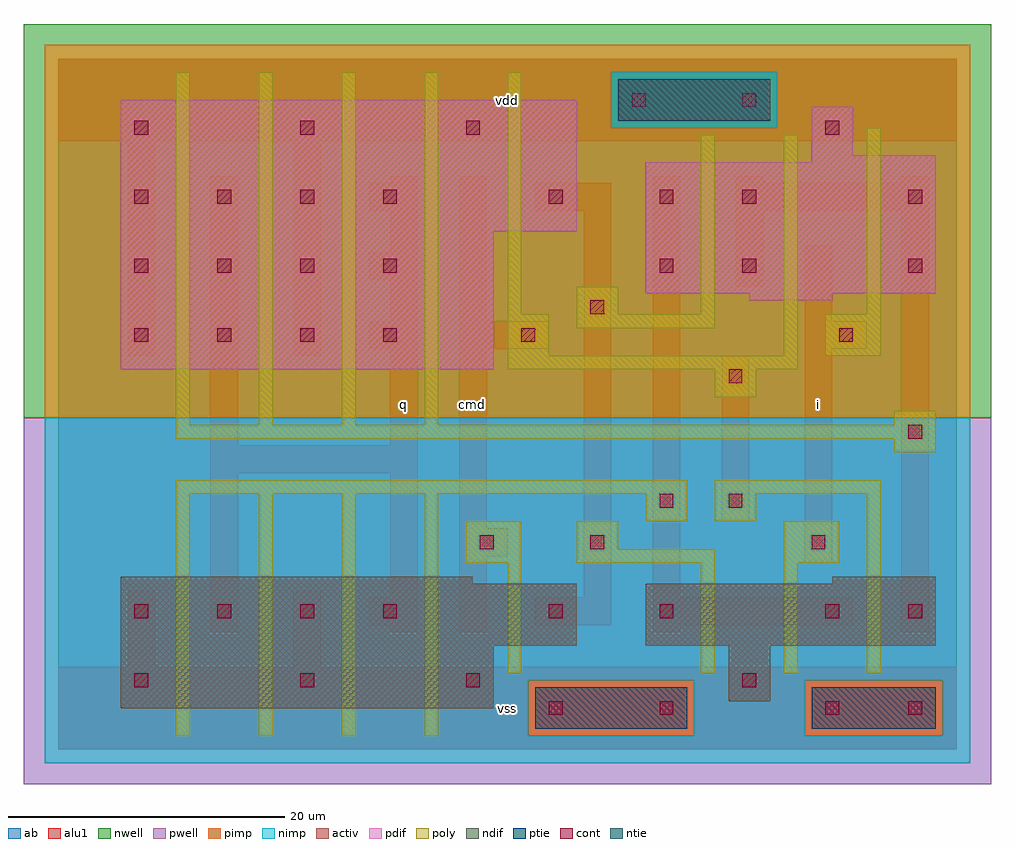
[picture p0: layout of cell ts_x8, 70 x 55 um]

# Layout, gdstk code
import gdstk
lib = gdstk.Library(unit=1e-6, precision=1e-09)
def R(c, l, rs):  # rectangles x0, y0, x1, y1
    for r in rs: c.add(gdstk.rectangle(r[:2], r[2:], *l))
def A(c, l, x, y, w, h, nx, ny, dx, dy):  # array of equal rectangles
    R(c, l, [(x+i*dx, y+j*dy, x+i*dx+w, y+j*dy+h) for i in range(nx) for j in range(ny)])
ndif = (3, 0)
pdif = (4, 0)
ntie = (5, 0)
ptie = (6, 0)
cont = (25, 0)
pwell = (41, 0)
nwell = (42, 0)
activ = (43, 0)
pimp = (44, 0)
nimp = (45, 0)
poly = (46, 0)
alu1 = (49, 0)
ab = (63, 0)

ts_x8 = lib.new_cell('ts_x8')
R(ts_x8, ndif, [(4.5,3,31.5,7.5), (48.5,3.5,51.5,7.5), (4.5,7.5,37.5,12), (42.5,7.5,63.5,12), (4.5,12,30,12.5), (56,12,63.5,12.5)])
R(ts_x8, pdif, [(4.5,27.5,31.5,37.5), (50,32.5,56,33), (42.5,33,63.5,42.5), (4.5,37.5,37.5,47), (54.5,42.5,63.5,43), (54.5,43,57.5,46.5)])
R(ts_x8, ntie, [(40.5,45.5,51.5,48.5)])
R(ts_x8, ptie, [(34.5,1.5,45.5,4.5), (54.5,1.5,63.5,4.5)])
A(ts_x8, cont, 5.5, 4.5, 1, 1, 3, 2, 12, 40)
A(ts_x8, cont, 5.5, 9.5, 1, 1, 4, 2, 6, 20)
A(ts_x8, cont, 5.5, 34.5, 1, 1, 4, 2, 6, 5)
R(ts_x8, cont, [(35.5,2.5,36.5,3.5), (43.5,2.5,44.5,3.5), (55.5,2.5,56.5,3.5), (61.5,2.5,62.5,3.5), (49.5,4.5,50.5,5.5), (35.5,9.5,36.5,10.5), (43.5,9.5,44.5,10.5), (55.5,9.5,56.5,10.5), (61.5,9.5,62.5,10.5), (30.5,14.5,31.5,15.5), (38.5,14.5,39.5,15.5), (54.5,14.5,55.5,15.5), (43.5,17.5,44.5,18.5), (48.5,17.5,49.5,18.5), (61.5,22.5,62.5,23.5), (48.5,26.5,49.5,27.5), (33.5,29.5,34.5,30.5), (56.5,29.5,57.5,30.5), (38.5,31.5,39.5,32.5), (43.5,34.5,44.5,35.5), (49.5,34.5,50.5,35.5), (61.5,34.5,62.5,35.5), (35.5,39.5,36.5,40.5), (43.5,39.5,44.5,40.5), (49.5,39.5,50.5,40.5), (61.5,39.5,62.5,40.5), (55.5,44.5,56.5,45.5), (41.5,46.5,42.5,47.5), (49.5,46.5,50.5,47.5)])
R(ts_x8, pwell, [(-2.5,-2.5,67.5,24)])
R(ts_x8, nwell, [(-2.5,24,67.5,52.5)])
R(ts_x8, activ, [(34.5,1.5,45.5,4.5), (54.5,1.5,63.5,4.5), (4.5,3,31.5,7.5), (48.5,3.5,51.5,7.5), (4.5,7.5,37.5,12), (42.5,7.5,63.5,12), (4.5,12,30,12.5), (56,12,63.5,12.5), (4.5,27.5,31.5,37.5), (50,32.5,56,33), (42.5,33,63.5,42.5), (4.5,37.5,37.5,47), (54.5,42.5,63.5,43), (54.5,43,57.5,46.5), (40.5,45.5,51.5,48.5)])
R(ts_x8, pimp, [(34,1,46,5), (54,1,64,5), (-1,24,66,45), (-1,45,40,49), (52,45,66,49), (-1,49,66,51)])
R(ts_x8, nimp, [(-1,-1,66,1), (-1,1,34,5), (46,1,54,5), (64,1,66,5), (-1,5,66,24), (40,45,52,49)])
A(ts_x8, poly, 8.5, 1, 1, 17.5, 4, 1, 6, 0)
A(ts_x8, poly, 8.5, 23.5, 1, 25.5, 4, 1, 6, 0)
R(ts_x8, poly, [(32.5,5.5,33.5,13.5), (46.5,5.5,47.5,13.5), (52.5,5.5,53.5,13.5), (58.5,5.5,59.5,18.5), (29.5,13.5,33.5,16.5), (37.5,13.5,47.5,14.5), (52.5,13.5,56.5,16.5), (37.5,14.5,40.5,16.5), (42.5,16.5,45.5,18.5), (47.5,16.5,50.5,18.5), (8.5,18.5,45.5,19.5), (47.5,18.5,59.5,19.5), (60.5,21.5,63.5,22.5), (8.5,22.5,63.5,23.5), (60.5,23.5,63.5,24.5), (47.5,25.5,50.5,27.5), (32.5,27.5,53.5,28.5), (32.5,28.5,35.5,31.5), (52.5,28.5,53.5,44.5), (55.5,28.5,59.5,31.5), (37.5,30.5,47.5,31.5), (32.5,31.5,33.5,49), (37.5,31.5,40.5,33.5), (46.5,31.5,47.5,44.5), (58.5,31.5,59.5,45)])
R(ts_x8, alu1, [(0,0,65,6), (0,0,65,6), (5,6,7,11.5), (5,6,7,11.5), (17,6,19,11.5), (17,6,19,11.5), (11,8.5,13,20), (11,8.5,13,20), (24,8.5,26,9), (24,8.5,26,9), (29,8.5,31,14), (29,8.5,31,14), (43,8.5,45,9), (43,8.5,45,9), (61,8.5,63,39), (61,8.5,63,39), (22.5,9,26,11), (22.5,9,26,11), (34.5,9,40,11), (34.5,9,40,11), (43,9,57.5,11), (43,9,57.5,11), (24,11,26,20), (24,11,26,20), (38,11,40,39), (38,11,40,39), (43,11,45,41.5), (43,11,45,41.5), (54,13.5,56,29), (54,13.5,56,29), (29,14,32.5,16), (29,14,32.5,16), (29,16,31,29), (29,16,31,29), (48,16.5,50,28.5), (48,16.5,50,28.5), (11,20,26,22), (11,20,26,22), (11,22,13,41.5), (11,22,13,41.5), (24,22,26,29), (24,22,26,29), (5,28.5,7,44), (5,28.5,7,44), (17,28.5,19,44), (17,28.5,19,44), (22.5,29,26,31), (22.5,29,26,31), (29,29,35.5,31), (29,29,35.5,31), (54,29,58.5,31), (54,29,58.5,31), (24,31,26,34), (24,31,26,34), (29,31,31,41.5), (29,31,31,41.5), (54,31,56,36.5), (54,31,56,36.5), (49,33.5,51,39), (49,33.5,51,39), (22.5,34,26,36), (22.5,34,26,36), (24,36,26,39), (24,36,26,39), (22.5,39,26,41), (22.5,39,26,41), (34.5,39,40,41), (34.5,39,40,41), (49,39,63,41), (49,39,63,41), (24,41,26,41.5), (24,41,26,41.5), (49,41,51,41.5), (49,41,51,41.5), (61,41,63,41.5), (61,41,63,41.5), (0,44,65,50), (0,44,65,50)])
R(ts_x8, ab, [(0,0,65,50)])
ts_x8.add(gdstk.Label('q', (25,25), layer=49, texttype=0))
ts_x8.add(gdstk.Label('cmd', (30,25), layer=49, texttype=0))
ts_x8.add(gdstk.Label('vss', (32.5,3), layer=49, texttype=0))
ts_x8.add(gdstk.Label('vdd', (32.5,47), layer=49, texttype=0))
ts_x8.add(gdstk.Label('i', (55,25), layer=49, texttype=0))

lib.write_gds('ts_x8.gds')
